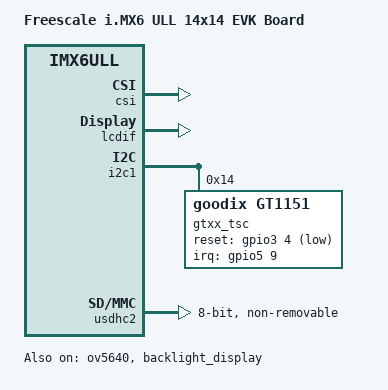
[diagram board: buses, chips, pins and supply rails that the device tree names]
// SPDX-License-Identifier: (GPL-2.0 OR MIT)
//
// Copyright (C) 2016 Freescale Semiconductor, Inc.

/dts-v1/;

#include "imx6ull.dtsi"
#include "imx6ul-14x14-evk.dtsi"

/ {
	model = "Freescale i.MX6 ULL 14x14 EVK Board";
	compatible = "fsl,imx6ull-14x14-evk", "fsl,imx6ull";
};

&clks {
	assigned-clocks = <&clks IMX6UL_CLK_PLL3_PFD2>,
			  <&clks IMX6UL_CLK_PLL4_AUDIO_DIV>;
	assigned-clock-rates = <320000000>, <786432000>;
};

&csi {
	status = "okay";
};

&ov5640 {
	status = "okay";
};

/* LCD */
&lcdif {
	assigned-clocks = <&clks IMX6UL_CLK_LCDIF_PRE_SEL>;
	assigned-clock-parents = <&clks IMX6UL_CLK_PLL5_VIDEO_DIV>;
	pinctrl-names = "default";
	pinctrl-0 = <&pinctrl_lcdif_dat
		     &pinctrl_lcdif_ctrl>;
	display = <&display0>;
	status = "okay";

	display0: display@0 {
		bits-per-pixel = <16>;
		bus-width = <24>;

		display-timings {
			native-mode = <&timing0>;

			timing0: timing0 {
				clock-frequency = <27000000>;
				hactive = <800>;
				vactive = <480>;
				hfront-porch = <40>;
				hback-porch = <46>;
				hsync-len = <1>;
				vback-porch = <23>;
				vfront-porch = <13>;
				vsync-len = <3>;
				hsync-active = <0>;
				vsync-active = <0>;
				de-active = <1>;
				pixelclk-active = <0>;
			};
		};
	};
};

&pinctrl_lcdif_ctrl{
	fsl,pins = <
		MX6UL_PAD_LCD_CLK__LCDIF_CLK	    0x79
		MX6UL_PAD_LCD_ENABLE__LCDIF_ENABLE  0x79
		MX6UL_PAD_LCD_HSYNC__LCDIF_HSYNC    0x79
		MX6UL_PAD_LCD_VSYNC__LCDIF_VSYNC    0x79
	>;
};

&pinctrl_pwm1{
	fsl,pins = <
    	MX6UL_PAD_GPIO1_IO08__PWM1_OUT   0x000010B1
    >;
};

&backlight_display{
	compatible = "pwm-backlight";
	pwms = <&pwm1 0 20000>;
	brightness-levels = <0 1 2 3 4 5 6 7 8 9 10 11 12 13 14 15 16 17 18 19 20 21 22 23 24 25 26 27 28 29 30 31 32 33 34 35 36 37 38 39 40 41 42 43 44 45 46 47 48 49 50 51 52 53 54 55 56 57 58 59 60 61 62 63 64 65 66 67 68 69 70 71 72 73 74 75 76 77 78 79 80 81 82 83 84 85 86 87 88 89 90 91 92 93 94 95 96 97 98 99 100>;
	default-brightness-level = <90>;
	status = "okay";
};

/* GT1151 */
&i2c1 {
	#address-cells = <1>;
	#size-cells = <0>;
	gtxx_tsc@14 {
		compatible = "goodix,gt1151";
		pinctrl-0 = <&pinctrl_tsc_reset>;
		pinctrl-1 = <&pinctrl_tsc_irq>;
		reg = <0x14>;
		status = "okay";
		/*gpio*/
		reset-gpios = <&gpio3 4 GPIO_ACTIVE_LOW>;
		irq-gpios = <&gpio5 9 GPIO_ACTIVE_HIGH>;
		/*interrupt­*/
		interrupt-parent = <&gpio5>;
		interrupts = <9 IRQ_TYPE_EDGE_FALLING>;
		irq-flags = <2>;		/*1:rising 2: falling*/	
	};
};

&iomuxc {
	pinctrl_tsc_reset: tscresetgrp {
		fsl,pins = <
			/* used for tsc reset */
			MX6UL_PAD_LCD_RESET__GPIO3_IO04		0x05
		>;
	};
};

&iomuxc_snvs {
	pinctrl_tsc_irq: tsc_irq {
		fsl,pins = <
			MX6ULL_PAD_SNVS_TAMPER9__GPIO5_IO09        0x4001b8b0
		>;
	};
};

/* EMMC */
&usdhc2 {
	pinctrl-names = "default", "state_100mhz", "state_200mhz";
	pinctrl-0 = <&pinctrl_usdhc2_8bit>;
	pinctrl-1 = <&pinctrl_usdhc2_8bit_100mhz>;
	pinctrl-2 = <&pinctrl_usdhc2_8bit_200mhz>;
	bus-width = <8>;
	non-removable;
	status = "okay";
};


/delete-node/ &sim2;
